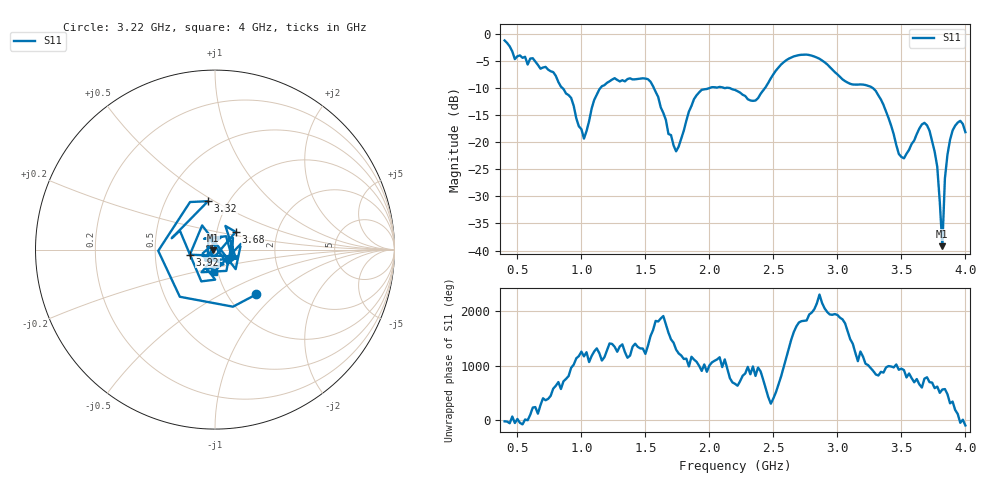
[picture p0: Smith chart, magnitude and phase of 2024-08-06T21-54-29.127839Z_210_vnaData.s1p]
!Created with skrf (http://scikit-rf.org).
# Hz S RI R 50.0
!freq ReS11 ImS11
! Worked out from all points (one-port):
!   181 points, 400 MHz to 4 GHz, reference 50 ohm
!   lowest |S11| = -39.2 dB at 3.82 GHz (marker M1), VSWR 1.02, Z = 49 - j0.421 ohm
!   |S11| at or under -10 dB: 854.8 MHz to 1.147 GHz (291.7 MHz wide, 29.2 % of centre); 1.568 GHz to 1.993 GHz (425 MHz wide, 23.9 % of centre); 3.28 GHz to end of sweep (the widest 3 of 4)
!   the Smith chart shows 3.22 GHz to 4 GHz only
!   S11 on the Smith chart (normalised r, x): 3.22 GHz: 1.35, -0.76; 3.32 GHz: 0.80, +0.47; 3.68 GHz: 1.23, +0.25; 3.92 GHz: 0.75, -0.04; 4 GHz: 0.96, -0.24
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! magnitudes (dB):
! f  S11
! 400 MHz  -1.1
! 480 MHz  -4.6
! 620 MHz  -4.4
! 860 MHz  -10.1
! 920 MHz  -11.8
! 1.02 GHz  -19.3
! 1.14 GHz  -10.2
! 1.3 GHz  -8.7
! 1.54 GHz  -8.8
! 1.68 GHz  -18.4
! 1.76 GHz  -20.8
! 1.92 GHz  -10.7
! 2.2 GHz  -10.3
! 2.36 GHz  -12.2
! 2.66 GHz  -4.1
! 2.86 GHz  -4.5
! 3.1 GHz  -9.2
! 3.22 GHz  -9.4
! 3.32 GHz  -11.3
! 3.48 GHz  -22.1
! 3.56 GHz  -21.4
! 3.68 GHz  -16.4
! 3.78 GHz  -24.5
! 3.82 GHz  -39.2
! 3.84 GHz  -26.6
! 3.88 GHz  -19.5
! 3.92 GHz  -16.9
! 4 GHz  -18.1
